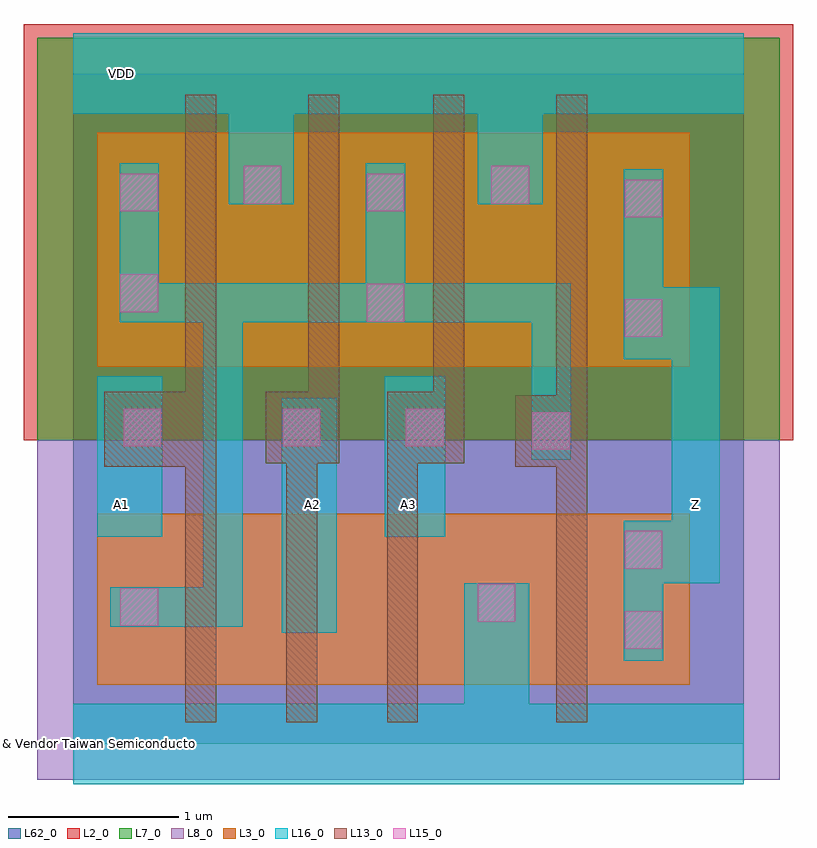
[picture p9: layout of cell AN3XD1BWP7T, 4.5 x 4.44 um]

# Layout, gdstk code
import gdstk
lib = gdstk.Library(unit=1e-6, precision=1e-09)
def R(c, l, rs):  # rectangles x0, y0, x1, y1
    for r in rs: c.add(gdstk.rectangle(r[:2], r[2:], *l))
def P(c, l, *ps):  # polygons
    for p in ps: c.add(gdstk.Polygon(p, *l))
L2_0 = (2, 0)
L3_0 = (3, 0)
L7_0 = (7, 0)
L8_0 = (8, 0)
L13_0 = (13, 0)
L15_0 = (15, 0)
L16_0 = (16, 0)
L62_0 = (62, 0)

an3xd1bwp7t = lib.new_cell('AN3XD1BWP7T')
R(an3xd1bwp7t, L2_0, [(-0.29,1.775,4.21,4.21)])
R(an3xd1bwp7t, L3_0, [(0.14,0.345,3.605,1.345), (0.14,2.205,3.605,3.575)])
R(an3xd1bwp7t, L7_0, [(-0.21,1.775,4.13,4.13)])
R(an3xd1bwp7t, L8_0, [(-0.21,-0.21,4.13,1.775)])
P(an3xd1bwp7t, L13_0, [(1.245,0.125),(1.245,1.64),(1.125,1.64),(1.125,2.06),(1.375,2.06),(1.375,3.795),(1.555,3.795),(1.555,1.64),(1.425,1.64),(1.425,0.125)],
  [(0.655,0.125),(0.655,1.62),(0.18,1.62),(0.18,2.06),(0.655,2.06),(0.655,3.795),(0.835,3.795),(0.835,0.125)],
  [(2.825,0.125),(2.825,1.62),(2.585,1.62),(2.585,2.04),(2.825,2.04),(2.825,3.795),(3.005,3.795),(3.005,0.125)],
  [(1.835,0.125),(1.835,2.06),(2.105,2.06),(2.105,3.795),(2.285,3.795),(2.285,1.64),(2.015,1.64),(2.015,0.125)])
R(an3xd1bwp7t, L15_0, [(3.225,0.555,3.445,0.775), (0.275,0.69,0.495,0.91), (2.365,0.715,2.585,0.935), (3.225,1.025,3.445,1.245), (2.685,1.72,2.905,1.94), (0.295,1.74,0.515,1.96), (1.225,1.74,1.445,1.96), (1.945,1.74,2.165,1.96), (3.225,2.38,3.445,2.6), (1.715,2.47,1.935,2.69), (0.275,2.525,0.495,2.745), (3.225,3.08,3.445,3.3), (0.275,3.115,0.495,3.335), (1.715,3.115,1.935,3.335), (0.995,3.16,1.215,3.38), (2.445,3.16,2.665,3.38)])
R(an3xd1bwp7t, L16_0, [(1.22,0.65,1.54,2.02), (0.14,1.21,0.52,2.15), (1.82,1.21,2.175,2.15)])
P(an3xd1bwp7t, L16_0, [(0,-0.235),(0,0.235),(2.285,0.235),(2.285,0.94),(2.665,0.94),(2.665,0.235),(3.92,0.235),(3.92,-0.235)],
  [(0.91,3.155),(0.91,3.685),(0,3.685),(0,4.155),(3.92,4.155),(3.92,3.685),(2.745,3.685),(2.745,3.155),(2.365,3.155),(2.365,3.685),(1.29,3.685),(1.29,3.155)],
  [(3.22,0.485),(3.22,1.305),(3.5,1.305),(3.5,2.25),(3.22,2.25),(3.22,3.36),(3.45,3.36),(3.45,2.67),(3.78,2.67),(3.78,0.94),(3.45,0.94),(3.45,0.485)],
  [(0.215,0.685),(0.215,0.915),(0.76,0.915),(0.76,2.465),(0.27,2.465),(0.27,3.395),(0.5,3.395),(0.5,2.695),(1.71,2.695),(1.71,3.395),(1.94,3.395),(1.94,2.695),(2.91,2.695),(2.91,1.66),(2.68,1.66),(2.68,2.465),(0.99,2.465),(0.99,0.685)])
R(an3xd1bwp7t, L62_0, [(0,0,3.92,3.92)])
an3xd1bwp7t.add(gdstk.Label('& Vendor Taiwan Semiconductor Manufacturing Corp.', (0,0), layer=63, texttype=63))
an3xd1bwp7t.add(gdstk.Label('& Product tcb018gbwp7t', (0,0), layer=63, texttype=63))
an3xd1bwp7t.add(gdstk.Label('& Version 270a', (0,0), layer=63, texttype=63))
an3xd1bwp7t.add(gdstk.Label('& Metric 15.366', (0,0), layer=63, texttype=63))
an3xd1bwp7t.add(gdstk.Label('& Distributor TSMC', (0,0), layer=63, texttype=63))
an3xd1bwp7t.add(gdstk.Label('& SerialNumber 000000', (0,0), layer=63, texttype=63))
an3xd1bwp7t.add(gdstk.Label('& _Instance_tag AN3XD1BWP7T', (0,0), layer=63, texttype=63))
an3xd1bwp7t.add(gdstk.Label('& Vendor Taiwan Semiconductor Manufacturing Corp.', (0,0), layer=11, texttype=0))
an3xd1bwp7t.add(gdstk.Label('& Product tcb018gbwp7t', (0,0), layer=11, texttype=0))
an3xd1bwp7t.add(gdstk.Label('& Version 270a', (0,0), layer=11, texttype=0))
an3xd1bwp7t.add(gdstk.Label('& Metric 15.366', (0,0), layer=11, texttype=0))
an3xd1bwp7t.add(gdstk.Label('& Distributor TSMC', (0,0), layer=11, texttype=0))
an3xd1bwp7t.add(gdstk.Label('& SerialNumber 000000', (0,0), layer=11, texttype=0))
an3xd1bwp7t.add(gdstk.Label('& _Instance_tag AN3XD1BWP7T', (0,0), layer=11, texttype=0))
an3xd1bwp7t.add(gdstk.Label('AN3XD1BWP7T', (0,0), layer=59, texttype=0))
an3xd1bwp7t.add(gdstk.Label('VSS', (0.28,0), layer=40, texttype=0))
an3xd1bwp7t.add(gdstk.Label('A1', (0.28,1.4), layer=40, texttype=0))
an3xd1bwp7t.add(gdstk.Label('VDD', (0.28,3.92), layer=40, texttype=0))
an3xd1bwp7t.add(gdstk.Label('A2', (1.4,1.4), layer=40, texttype=0))
an3xd1bwp7t.add(gdstk.Label('A3', (1.96,1.4), layer=40, texttype=0))
an3xd1bwp7t.add(gdstk.Label('Z', (3.64,1.4), layer=40, texttype=0))

lib.write_gds('AN3XD1BWP7T.gds')
